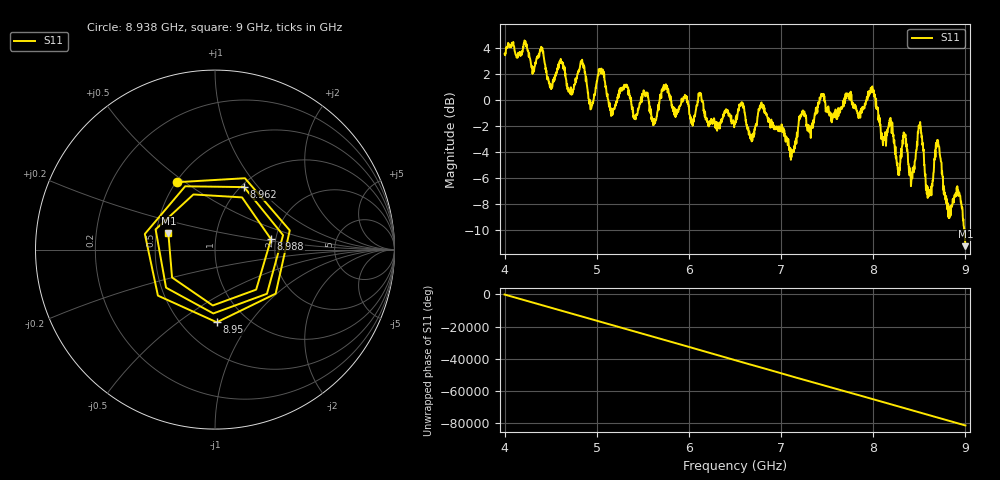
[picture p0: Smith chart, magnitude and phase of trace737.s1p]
! Created with skrf 1.8.0 (http://scikit-rf.org).
# Hz S RI R 50.0
!freq ReS11 ImS11
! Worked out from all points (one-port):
!   1601 points, 4 GHz to 9 GHz, reference 50 ohm
!   lowest |S11| = -11.2 dB at 9 GHz (marker M1), VSWR 1.76, Z = 29 + j5.7 ohm
!   |S11| at or under -10 dB: 8.9923 GHz to end of sweep
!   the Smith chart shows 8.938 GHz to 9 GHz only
!   S11 on the Smith chart (normalised r, x): 8.938 GHz: 0.50, +0.46; 8.95 GHz: 0.73, -0.71; 8.962 GHz: 1.04, +0.85; 8.988 GHz: 1.89, +0.24; 9 GHz: 0.58, +0.11
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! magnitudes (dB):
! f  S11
! 4 GHz  3.5
! 4.625 GHz  2.9
! 4.719 GHz  1.0
! 4.847 GHz  2.8
! 4.934 GHz  -0.7
! 5.041 GHz  2.3
! 5.156 GHz  -1.2
! 5.25 GHz  0.9
! 5.875 GHz  -0.9
! 6.5 GHz  -1.8
! 6.684 GHz  -2.7
! 6.794 GHz  -0.5
! 7.125 GHz  -4.0
! 7.228 GHz  -0.9
! 7.75 GHz  0.2
! 7.994 GHz  0.8
! 8.269 GHz  -5.3
! 8.375 GHz  -4.1
! 8.428 GHz  -5.2
! 8.506 GHz  -2.0
! 8.597 GHz  -7.2
! 8.697 GHz  -3.5
! 8.819 GHz  -9.0
! 8.938 GHz  -7.3
! 8.95 GHz  -7.8
! 8.962 GHz  -8.3
! 8.988 GHz  -10.0
! 9 GHz  -11.2
